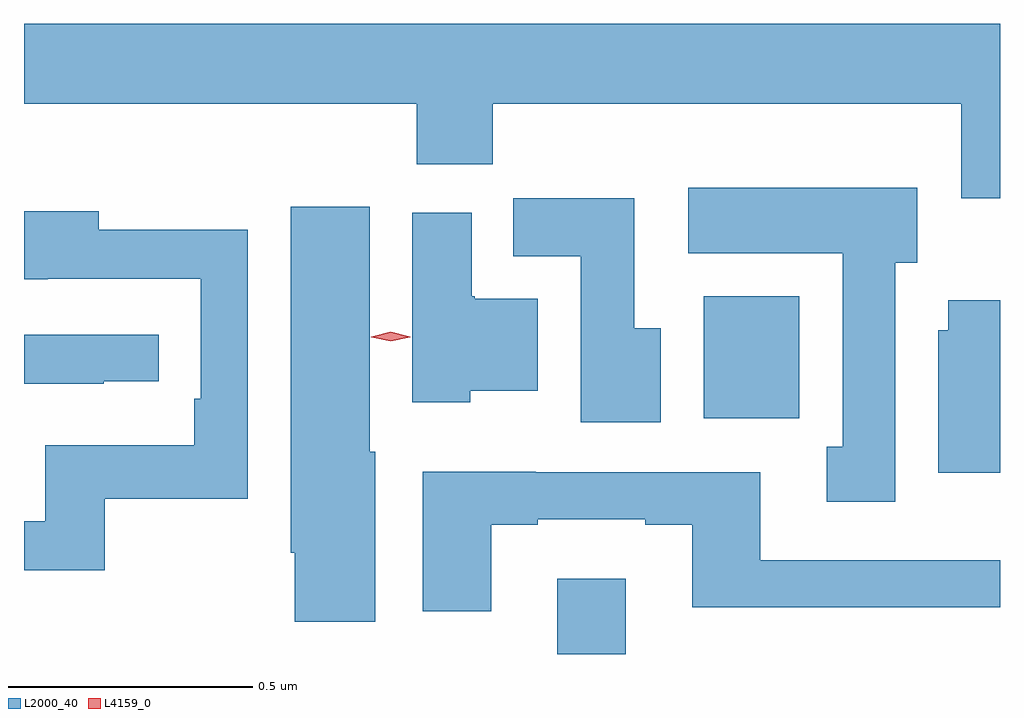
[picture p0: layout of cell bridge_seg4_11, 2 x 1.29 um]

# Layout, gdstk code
import gdstk
lib = gdstk.Library(unit=1e-6, precision=1e-09)
def R(c, l, rs):  # rectangles x0, y0, x1, y1
    for r in rs: c.add(gdstk.rectangle(r[:2], r[2:], *l))
def P(c, l, *ps):  # polygons
    for p in ps: c.add(gdstk.Polygon(p, *l))
L2000_40 = (2000, 40)
L4159_0 = (4159, 0)

bridge_seg4_11 = lib.new_cell('bridge_seg4_11')
R(bridge_seg4_11, L2000_40, [(890.927,757.064,891.067,757.219), (891.227,757.548,891.423,757.798)])
P(bridge_seg4_11, L2000_40, [(891.834,758.356),(889.834,758.356),(889.834,758.192),(890.639,758.192),(890.639,758.068),(890.795,758.068),(890.795,758.192),(891.755,758.192),(891.755,757.998),(891.834,757.998)],
  [(891.619,757.866),(891.664,757.866),(891.664,758.02),(891.195,758.02),(891.195,757.886),(891.512,757.886),(891.512,757.489),(891.479,757.489),(891.479,757.377),(891.619,757.377)],
  [(891.139,757.732),(891.085,757.732),(891.085,757.998),(890.837,757.998),(890.837,757.88),(890.975,757.88),(890.975,757.539),(891.139,757.539)],
  [(890.554,757.479),(890.542,757.479),(890.542,757.981),(890.381,757.981),(890.381,757.272),(890.389,757.272),(890.389,757.131),(890.554,757.131)],
  [(889.999,757.383),(890.292,757.383),(890.292,757.934),(889.987,757.934),(889.987,757.972),(889.834,757.972),(889.834,757.832),(889.883,757.832),(889.883,757.833),(890.196,757.833),(890.196,757.588),(890.183,757.588),(890.183,757.492),(889.878,757.492),(889.878,757.337),(889.834,757.337),(889.834,757.236),(889.999,757.236)],
  [(890.748,757.604),(890.887,757.604),(890.887,757.792),(890.758,757.792),(890.758,757.798),(890.752,757.798),(890.752,757.969),(890.63,757.969),(890.63,757.58),(890.748,757.58)],
  [(891.834,757.789),(891.728,757.789),(891.728,757.728),(891.707,757.728),(891.707,757.436),(891.834,757.436)],
  [(889.997,757.623),(890.11,757.623),(890.11,757.719),(889.834,757.719),(889.834,757.618),(889.997,757.618)],
  [(890.791,757.329),(890.887,757.329),(890.887,757.341),(891.107,757.341),(891.107,757.329),(891.203,757.329),(891.203,757.16),(891.834,757.16),(891.834,757.257),(891.343,757.257),(891.343,757.437),(890.883,757.437),(890.883,757.438),(890.651,757.438),(890.651,757.152),(890.791,757.152)])
P(bridge_seg4_11, L4159_0, [(890.586,757.705),(890.546,757.714),(890.546,757.715),(890.546,757.715),(890.586,757.725),(890.626,757.715),(890.626,757.715),(890.626,757.714)])

lib.write_gds('bridge_seg4_11.gds')
